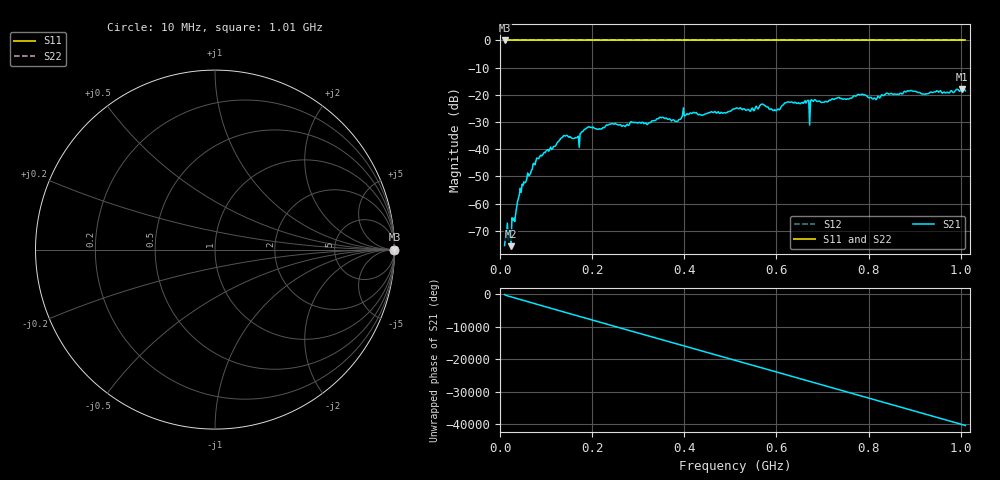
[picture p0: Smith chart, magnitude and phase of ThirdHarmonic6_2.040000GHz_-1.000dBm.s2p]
! 8/17/2025 12:28:14 AM
! C:\ANRITSUVNA\TEMP\TEMP.S2P
! CHANNEL.1
! TR.MEASUREMENT
! RAW.DATA
! RF.CORRECTION.OFF
! AVERAGING.OFF
! IF.BANDWIDTH: 5KHZ
! SWEEPTYPE:  FREQ.SWEEP(Linear)
! Reference Plane Port Info
! PORT:  PORT1  PORT2
! DISTANCE:  0  m  0  m
! TIME:  0  s  0  s
! PHASE.OFFSET:  0  deg.  0  deg.
! LOSS:  0  dB  0  dB
! REF.LOSS:  0  dB  0  dB
! REF.FREQ:  0  Hz  0  Hz
! Power Info
! POWER:  -20  dBm  -20  dBm
! EFF.POWER:  -20  dBm  -20  dBm
! SOURCE.ATTEN:  0  dB  0  dB
! TEST.ATTEN:  0  dB  0  dB
# GHZ S RI R 50.0
! FREQ.GHZ  S11RE  S11IM  S21RE  S21IM  S12RE  S12IM  S22RE  S22IM
!; PortSelection: Port_12
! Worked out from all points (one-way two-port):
!   501 points, 10 MHz to 1.01 GHz, reference 50 ohm
!   highest |S21| = -17.80 dB at 1.002 GHz (marker M1); lowest = -75.7 dB at 24 MHz (marker M2)
!   lowest |S11| = 0.0 dB at 10 MHz (marker M3)
!   |S11| at or under -10 dB: nowhere
!   |S22| runs from 0.0 to 0.0 dB; largest |S21 - S12| = 1.1
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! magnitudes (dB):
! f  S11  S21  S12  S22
! 10 MHz  0.0  -75.4  0.0  0.0
! 24 MHz  0.0  -75.7  0.0  0.0
! 46 MHz  0.0  -55.8  0.0  0.0
! 76 MHz  0.0  -45.8  0.0  0.0
! 136 MHz  0.0  -35.5  0.0  0.0
! 168 MHz  0.0  -35.7  0.0  0.0
! 178 MHz  0.0  -33.6  0.0  0.0
! 344 MHz  0.0  -28.8  0.0  0.0
! 384 MHz  0.0  -29.8  0.0  0.0
! 402 MHz  0.0  -27.7  0.0  0.0
! 510 MHz  0.0  -25.1  0.0  0.0
! 570 MHz  0.0  -23.4  0.0  0.0
! 596 MHz  0.0  -25.4  0.0  0.0
! 622 MHz  0.0  -22.8  0.0  0.0
! 666 MHz  0.0  -22.3  0.0  0.0
! 668 MHz  0.0  -22.0  0.0  0.0
! 678 MHz  0.0  -22.2  0.0  0.0
! 782 MHz  0.0  -20.0  0.0  0.0
! 814 MHz  0.0  -21.3  0.0  0.0
! 844 MHz  0.0  -19.8  0.0  0.0
! 1.002 GHz  0.0  -17.8  0.0  0.0
! 1.01 GHz  0.0  -18.5  0.0  0.0
